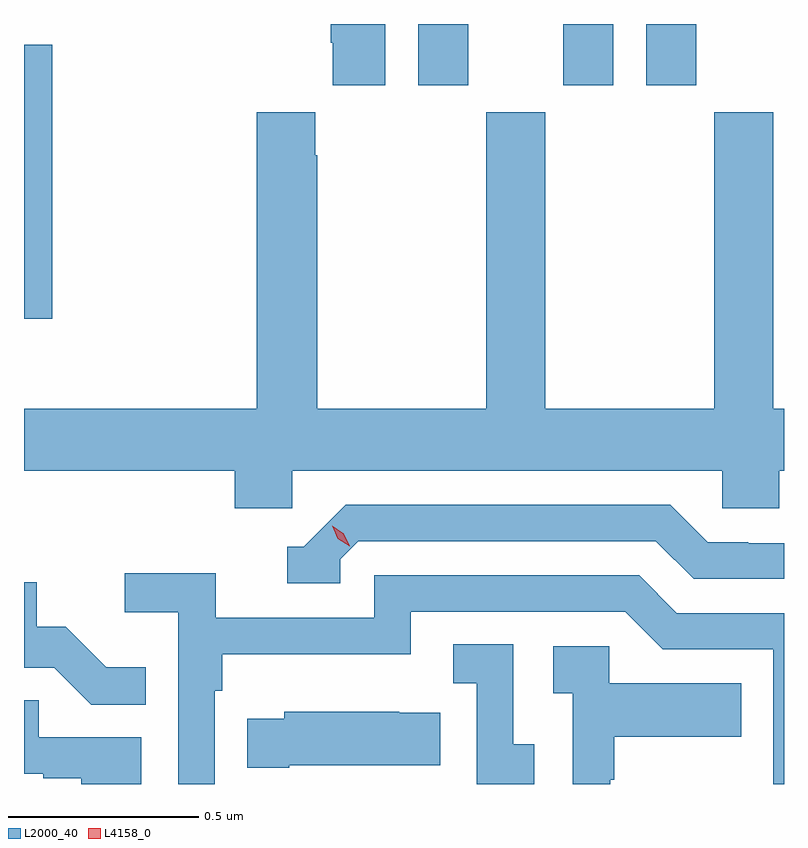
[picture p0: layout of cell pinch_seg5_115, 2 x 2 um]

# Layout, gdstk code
import gdstk
lib = gdstk.Library(unit=1e-6, precision=1e-09)
def R(c, l, rs):  # rectangles x0, y0, x1, y1
    for r in rs: c.add(gdstk.rectangle(r[:2], r[2:], *l))
def P(c, l, *ps):  # polygons
    for p in ps: c.add(gdstk.Polygon(p, *l))
L2000_40 = (2000, 40)
L4158_0 = (4158, 0)

pinch_seg5_115 = lib.new_cell('pinch_seg5_115')
R(pinch_seg5_115, L2000_40, [(1046.312,882.468,1046.386,883.189), (1047.35,883.083,1047.481,883.244), (1047.731,883.083,1047.862,883.244), (1047.95,883.083,1048.081,883.244)])
P(pinch_seg5_115, L2000_40, [(1047.262,883.244),(1047.119,883.244),(1047.119,883.195),(1047.125,883.195),(1047.125,883.083),(1047.262,883.083)],
  [(1047.018,882.068),(1048.149,882.068),(1048.149,881.97),(1048.299,881.97),(1048.299,882.068),(1048.312,882.068),(1048.312,882.232),(1048.284,882.232),(1048.284,883.012),(1048.129,883.012),(1048.129,882.232),(1047.684,882.232),(1047.684,883.012),(1047.529,883.012),(1047.529,882.232),(1047.084,882.232),(1047.084,882.899),(1047.079,882.899),(1047.079,883.012),(1046.924,883.012),(1046.924,882.232),(1046.312,882.232),(1046.312,882.068),(1046.867,882.068),(1046.867,881.97),(1047.018,881.97)],
  [(1047.144,881.835),(1047.192,881.883),(1047.975,881.883),(1048.074,881.784),(1048.312,881.784),(1048.312,881.877),(1048.218,881.877),(1048.218,881.88),(1048.111,881.88),(1048.012,881.979),(1047.159,881.979),(1047.048,881.868),(1047.005,881.868),(1047.005,881.772),(1047.144,881.772)],
  [(1046.814,881.489),(1046.834,881.489),(1046.834,881.585),(1047.33,881.585),(1047.33,881.697),(1047.894,881.697),(1047.993,881.598),(1048.284,881.598),(1048.284,881.244),(1048.312,881.244),(1048.312,881.694),(1048.03,881.694),(1047.931,881.793),(1047.234,881.793),(1047.234,881.682),(1046.816,881.682),(1046.816,881.798),(1046.577,881.798),(1046.577,881.696),(1046.718,881.696),(1046.718,881.244),(1046.814,881.244)],
  [(1046.633,881.551),(1046.529,881.551),(1046.422,881.658),(1046.346,881.658),(1046.346,881.775),(1046.312,881.775),(1046.312,881.55),(1046.391,881.55),(1046.489,881.452),(1046.633,881.452)],
  [(1047.655,881.349),(1047.6,881.349),(1047.6,881.612),(1047.441,881.612),(1047.441,881.509),(1047.504,881.509),(1047.504,881.244),(1047.655,881.244)],
  [(1047.855,881.255),(1047.865,881.255),(1047.865,881.369),(1048.199,881.369),(1048.199,881.509),(1047.852,881.509),(1047.852,881.607),(1047.705,881.607),(1047.705,881.483),(1047.756,881.483),(1047.756,881.244),(1047.855,881.244)],
  [(1046.62,881.367),(1046.351,881.367),(1046.351,881.465),(1046.312,881.465),(1046.312,881.271),(1046.363,881.271),(1046.363,881.259),(1046.462,881.259),(1046.462,881.244),(1046.62,881.244)],
  [(1047.01,881.294),(1047.407,881.294),(1047.407,881.431),(1047.299,881.431),(1047.299,881.434),(1046.997,881.434),(1046.997,881.416),(1046.899,881.416),(1046.899,881.287),(1047.01,881.287)])
P(pinch_seg5_115, L4158_0, [(1047.169,881.87),(1047.138,881.89),(1047.123,881.923),(1047.123,881.923),(1047.123,881.923),(1047.154,881.903),(1047.169,881.871),(1047.169,881.87)])

lib.write_gds('pinch_seg5_115.gds')
